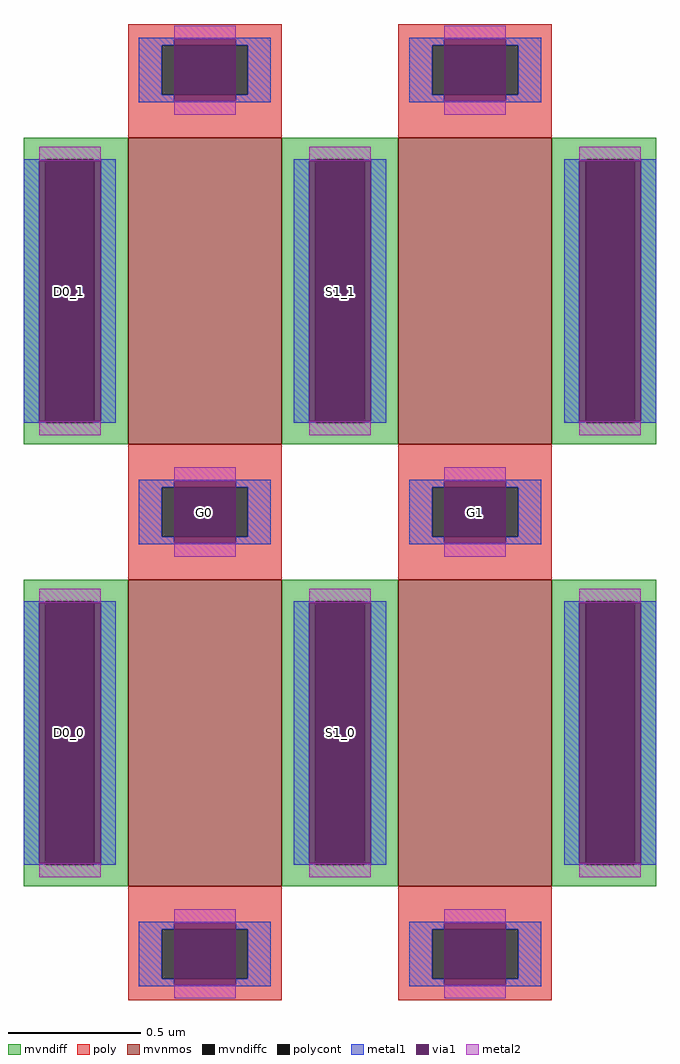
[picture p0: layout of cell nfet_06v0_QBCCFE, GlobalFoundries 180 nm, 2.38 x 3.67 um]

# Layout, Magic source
magic
tech gf180mcuD
magscale 3 26
<< mvnmos >>
rect -138 44 -38 244
rect 38 44 138 244
rect -138 -244 -38 -44
rect 38 -244 138 -44
<< mvndiff >>
rect -206 230 -138 244
rect -206 58 -192 230
rect -160 58 -138 230
rect -206 44 -138 58
rect -38 230 38 244
rect -38 58 -16 230
rect 16 58 38 230
rect -38 44 38 58
rect 138 230 206 244
rect 138 58 160 230
rect 192 58 206 230
rect 138 44 206 58
rect -206 -58 -138 -44
rect -206 -230 -192 -58
rect -160 -230 -138 -58
rect -206 -244 -138 -230
rect -38 -58 38 -44
rect -38 -230 -16 -58
rect 16 -230 38 -58
rect -38 -244 38 -230
rect 138 -58 206 -44
rect 138 -230 160 -58
rect 192 -230 206 -58
rect 138 -244 206 -230
<< mvndiffc >>
rect -192 58 -160 230
rect -16 58 16 230
rect 160 58 192 230
rect -192 -230 -160 -58
rect -16 -230 16 -58
rect 160 -230 192 -58
<< poly >>
rect -138 304 -38 318
rect -138 272 -116 304
rect -60 272 -38 304
rect -138 244 -38 272
rect 38 304 138 318
rect 38 272 60 304
rect 116 272 138 304
rect 38 244 138 272
rect -138 16 -38 44
rect -138 -16 -116 16
rect -60 -16 -38 16
rect -138 -44 -38 -16
rect 38 16 138 44
rect 38 -16 60 16
rect 116 -16 138 16
rect 38 -44 138 -16
rect -138 -272 -38 -244
rect -138 -304 -116 -272
rect -60 -304 -38 -272
rect -138 -318 -38 -304
rect 38 -272 138 -244
rect 38 -304 60 -272
rect 116 -304 138 -272
rect 38 -318 138 -304
<< polycont >>
rect -116 272 -60 304
rect 60 272 116 304
rect -116 -16 -60 16
rect 60 -16 116 16
rect -116 -304 -60 -272
rect 60 -304 116 -272
<< metal1 >>
rect -131 308 -45 309
rect -131 304 -108 308
rect -68 304 -45 308
rect -131 272 -116 304
rect -60 272 -45 304
rect -131 268 -108 272
rect -68 268 -45 272
rect -131 267 -45 268
rect 45 308 131 309
rect 45 304 68 308
rect 108 304 131 308
rect 45 272 60 304
rect 116 272 131 304
rect 45 268 68 272
rect 108 268 131 272
rect 45 267 131 268
rect -206 229 -192 230
rect -160 229 -146 230
rect -206 59 -196 229
rect -156 59 -146 229
rect -206 58 -192 59
rect -160 58 -146 59
rect -30 229 -16 230
rect 16 229 30 230
rect -30 59 -20 229
rect 20 59 30 229
rect -30 58 -16 59
rect 16 58 30 59
rect 146 229 160 230
rect 192 229 206 230
rect 146 59 156 229
rect 196 59 206 229
rect 146 58 160 59
rect 192 58 206 59
rect -131 20 -45 21
rect -131 16 -108 20
rect -68 16 -45 20
rect -131 -16 -116 16
rect -60 -16 -45 16
rect -131 -20 -108 -16
rect -68 -20 -45 -16
rect -131 -21 -45 -20
rect 45 20 131 21
rect 45 16 68 20
rect 108 16 131 20
rect 45 -16 60 16
rect 116 -16 131 16
rect 45 -20 68 -16
rect 108 -20 131 -16
rect 45 -21 131 -20
rect -206 -59 -192 -58
rect -160 -59 -146 -58
rect -206 -229 -196 -59
rect -156 -229 -146 -59
rect -206 -230 -192 -229
rect -160 -230 -146 -229
rect -30 -59 -16 -58
rect 16 -59 30 -58
rect -30 -229 -20 -59
rect 20 -229 30 -59
rect -30 -230 -16 -229
rect 16 -230 30 -229
rect 146 -59 160 -58
rect 192 -59 206 -58
rect 146 -229 156 -59
rect 196 -229 206 -59
rect 146 -230 160 -229
rect 192 -230 206 -229
rect -131 -268 -45 -267
rect -131 -272 -108 -268
rect -68 -272 -45 -268
rect -131 -304 -116 -272
rect -60 -304 -45 -272
rect -131 -308 -108 -304
rect -68 -308 -45 -304
rect -131 -309 -45 -308
rect 45 -268 131 -267
rect 45 -272 68 -268
rect 108 -272 131 -268
rect 45 -304 60 -272
rect 116 -304 131 -272
rect 45 -308 68 -304
rect 108 -308 131 -304
rect 45 -309 131 -308
<< via1 >>
rect -108 304 -68 308
rect -108 272 -68 304
rect -108 268 -68 272
rect 68 304 108 308
rect 68 272 108 304
rect 68 268 108 272
rect -196 59 -192 229
rect -192 59 -160 229
rect -160 59 -156 229
rect -20 59 -16 229
rect -16 59 16 229
rect 16 59 20 229
rect 156 59 160 229
rect 160 59 192 229
rect 192 59 196 229
rect -108 16 -68 20
rect -108 -16 -68 16
rect -108 -20 -68 -16
rect 68 16 108 20
rect 68 -16 108 16
rect 68 -20 108 -16
rect -196 -229 -192 -59
rect -192 -229 -160 -59
rect -160 -229 -156 -59
rect -20 -229 -16 -59
rect -16 -229 16 -59
rect 16 -229 20 -59
rect 156 -229 160 -59
rect 160 -229 192 -59
rect 192 -229 196 -59
rect -108 -272 -68 -268
rect -108 -304 -68 -272
rect -108 -308 -68 -304
rect 68 -272 108 -268
rect 68 -304 108 -272
rect 68 -308 108 -304
<< metal2 >>
rect -108 308 -68 317
rect -108 259 -68 268
rect 68 308 108 317
rect 68 259 108 268
rect -196 229 -156 238
rect -196 50 -156 59
rect -20 229 20 238
rect -20 50 20 59
rect 156 229 196 238
rect 156 50 196 59
rect -108 20 -68 29
rect -108 -29 -68 -20
rect 68 20 108 29
rect 68 -29 108 -20
rect -196 -59 -156 -50
rect -196 -238 -156 -229
rect -20 -59 20 -50
rect -20 -238 20 -229
rect 156 -59 196 -50
rect 156 -238 196 -229
rect -108 -268 -68 -259
rect -108 -317 -68 -308
rect 68 -268 108 -259
rect 68 -317 108 -308
<< labels >>
rlabel mvndiffc -176 -144 -176 -144 0 D0_0
port 1 nsew
rlabel polycont -88 0 -88 0 0 G0
port 2 nsew
rlabel mvndiffc -176 144 -176 144 0 D0_1
port 3 nsew
rlabel mvndiffc 0 -144 0 -144 0 S1_0
port 4 nsew
rlabel polycont 88 0 88 0 0 G1
port 5 nsew
rlabel mvndiffc 0 144 0 144 0 S1_1
port 6 nsew
<< properties >>
string gencell nfet_05v0
string library gf180mcu
string parameters w 1.0 l 0.5 m 2 ng 2 diffcov 100 polycov 100 guard 0 glc 1 grc 1 gtc 1 gbc 1 tbcov 100 rlcov 100 topc 1 botc 1 poverlap 1 doverlap 1 lmin 0.45 wmin 0.15 class mosfet compatible {nfet_05v0 nfet_06v0} full_metal 1 conn_gates 0 gate_ring 0 doports 1 viasrc 100 viadrn 100 viagate 70 ccols 1 viagb 0 viagr 0 viagl 0 viagt 0
<< end >>
